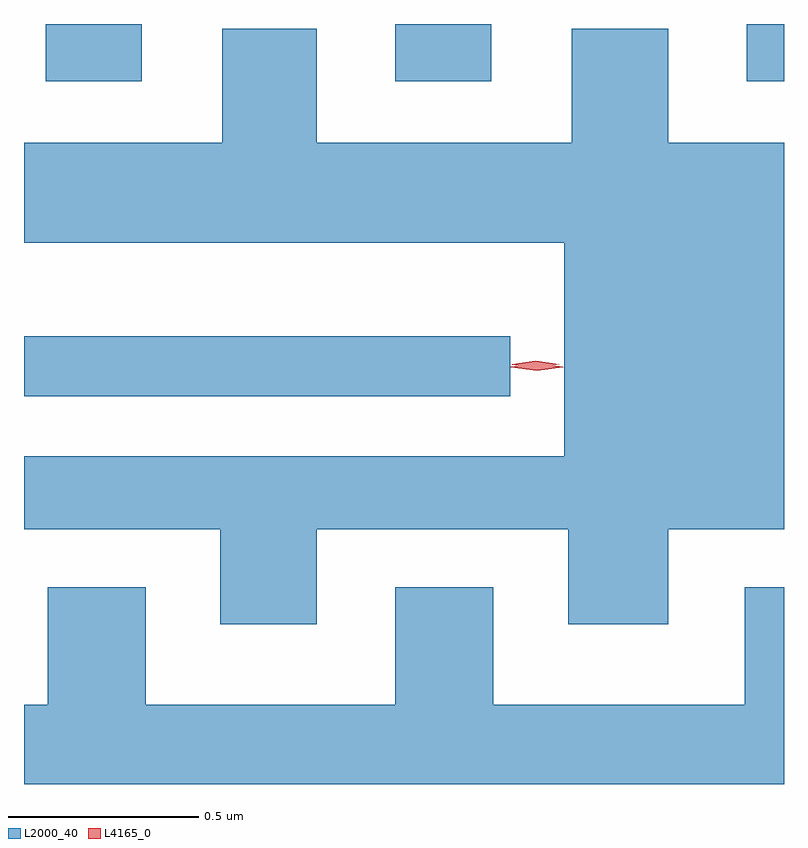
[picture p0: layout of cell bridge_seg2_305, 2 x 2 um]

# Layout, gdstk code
import gdstk
lib = gdstk.Library(unit=1e-6, precision=1e-09)
def R(c, l, rs):  # rectangles x0, y0, x1, y1
    for r in rs: c.add(gdstk.rectangle(r[:2], r[2:], *l))
def P(c, l, *ps):  # polygons
    for p in ps: c.add(gdstk.Polygon(p, *l))
L2000_40 = (2000, 40)
L4165_0 = (4165, 0)

bridge_seg2_305 = lib.new_cell('bridge_seg2_305')
R(bridge_seg2_305, L2000_40, [(604.079,1047.176,605.358,1047.334), (604.136,1048.006,604.389,1048.156), (605.056,1048.006,605.309,1048.156), (605.981,1048.006,606.079,1048.156)])
P(bridge_seg2_305, L2000_40, [(604.849,1046.826),(605.511,1046.826),(605.511,1046.576),(605.774,1046.576),(605.774,1046.826),(606.079,1046.826),(606.079,1047.844),(605.774,1047.844),(605.774,1048.144),(605.521,1048.144),(605.521,1047.844),(604.849,1047.844),(604.849,1048.144),(604.601,1048.144),(604.601,1047.844),(604.079,1047.844),(604.079,1047.581),(605.501,1047.581),(605.501,1047.019),(604.079,1047.019),(604.079,1046.826),(604.596,1046.826),(604.596,1046.576),(604.849,1046.576)],
  [(606.079,1046.674),(605.976,1046.674),(605.976,1046.364),(605.314,1046.364),(605.314,1046.674),(605.056,1046.674),(605.056,1046.364),(604.399,1046.364),(604.399,1046.674),(604.141,1046.674),(604.141,1046.364),(604.079,1046.364),(604.079,1046.156),(606.079,1046.156)])
P(bridge_seg2_305, L4165_0, [(605.426,1047.25),(605.364,1047.259),(605.363,1047.26),(605.364,1047.26),(605.426,1047.27),(605.488,1047.261),(605.488,1047.26),(605.488,1047.26)],
  [(605.429,1047.243),(605.36,1047.253),(605.36,1047.253),(605.36,1047.254),(605.429,1047.263),(605.497,1047.254),(605.498,1047.253),(605.497,1047.253)])

lib.write_gds('bridge_seg2_305.gds')
